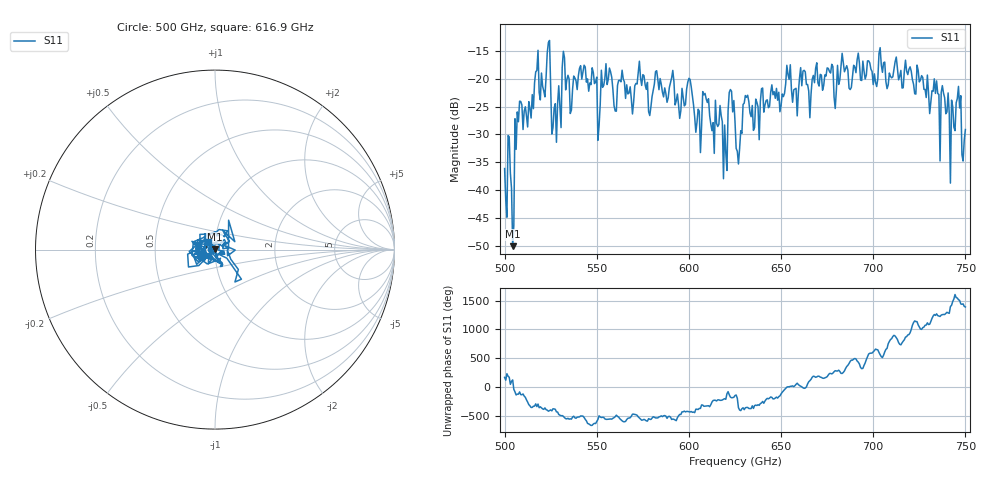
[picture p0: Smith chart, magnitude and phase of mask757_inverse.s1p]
!Created with skrf (http://scikit-rf.org).
# GHz S MA R 50.0
!freq magS11 angS11
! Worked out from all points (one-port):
!   401 points, 500 GHz to 750 GHz, reference 50 ohm
!   lowest |S11| = -50.1 dB at 504.4 GHz (marker M1), VSWR 1.01, Z = 49.8 + j0.258 ohm
!   |S11| at or under -10 dB: start of sweep to end of sweep
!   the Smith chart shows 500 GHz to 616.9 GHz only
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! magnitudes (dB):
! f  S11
! 500 GHz  -36.1
! 504.4 GHz  -50.1
! 508.1 GHz  -24.0
! 523.8 GHz  -13.5
! 526.9 GHz  -25.3
! 531.2 GHz  -17.9
! 548.8 GHz  -20.9
! 550.6 GHz  -31.1
! 553.8 GHz  -21.2
! 562.5 GHz  -20.3
! 574.4 GHz  -21.2
! 579.4 GHz  -25.1
! 590.6 GHz  -19.8
! 593.8 GHz  -22.7
! 600 GHz  -19.9
! 605 GHz  -25.5
! 608.8 GHz  -22.6
! 619.4 GHz  -28.3
! 623.1 GHz  -22.2
! 625 GHz  -27.7
! 626.9 GHz  -35.3
! 630.6 GHz  -23.0
! 656.2 GHz  -24.2
! 687.5 GHz  -21.9
! 718.8 GHz  -19.2
! 743.1 GHz  -25.0
! 746.2 GHz  -21.4
! 750 GHz  -29.1
